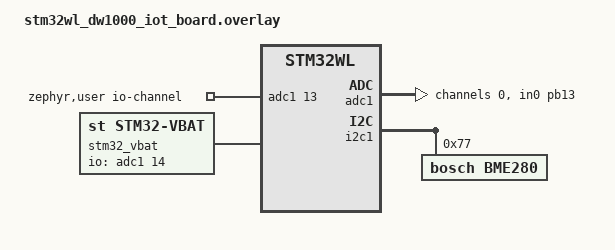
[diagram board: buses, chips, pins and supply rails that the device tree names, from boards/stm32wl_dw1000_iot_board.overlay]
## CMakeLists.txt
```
cmake_minimum_required(VERSION 3.20.0)

find_package(Zephyr REQUIRED HINTS $ENV{ZEPHYR_BASE})
project(stm32wle5_rtos_adc)

FILE(GLOB app_sources src/*.c)
target_sources(app PRIVATE ${app_sources})
```

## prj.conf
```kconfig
# Communication Bus Support
CONFIG_GPIO=y
CONFIG_SPI=y
CONFIG_I2C=y

# Hardware Support
CONFIG_ADC=y
CONFIG_ADC_ASYNC=y
CONFIG_SENSOR=y

# LoraWAN Support
CONFIG_LOG=y
CONFIG_LORA=y
CONFIG_LORAWAN=y
CONFIG_LORAMAC_REGION_EU868=y
CONFIG_LORA_STM32WL_SUBGHZ_RADIO=y

# Stack Support
CONFIG_MAIN_STACK_SIZE=2048
CONFIG_SYSTEM_WORKQUEUE_STACK_SIZE=2048

# Flash Support
CONFIG_NVS=y
CONFIG_FLASH=y
CONFIG_FLASH_PAGE_LAYOUT=y
CONFIG_LOG_MODE_IMMEDIATE=y
CONFIG_NVS_LOG_LEVEL_DBG=y
CONFIG_REBOOT=y
CONFIG_MPU_ALLOW_FLASH_WRITE=y
```

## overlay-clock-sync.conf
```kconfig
CONFIG_LORAWAN_SERVICES=y
CONFIG_LORAWAN_SERVICES_LOG_LEVEL_DBG=y
CONFIG_LORAWAN_APP_CLOCK_SYNC=y
```

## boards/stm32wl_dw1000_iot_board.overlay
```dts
/*
 * Copyright (c) 2023
 * Regis Rousseau, INSA Lyon, CITI Lab.
 *
 * SPDX-License-Identifier: Apache-2.0
 */

/* configuration of ADC for geophone sensor */
/* adjust channel number according to pinmux in board.dts */
/* see datasheet Pinout Config pg 56/149 */
		// PB13 ADC_GSONE -> ADC_IN0

/ {
	zephyr,user {
		io-channels = <&adc1 13 >;
	};

/* VBAT battery voltage monitoring */
/* internal ADC channnel of STM32, Px14 - see datasheet ADC part pg 42/149 */

	stm32_vbat: stm32vbat {
    compatible = "st,stm32-vbat";
    io-channels = <&adc1 14>;
    ratio = <3>;
    status = "okay";
	};
};

&adc1 {
	#address-cells = <1>;
	#size-cells = <0>;

	pinctrl-0 = <&adc_in0_pb13>;
	pinctrl-names = "default";
	status = "okay";

	channel@0 {
		reg = <0>;
		zephyr,gain = "ADC_GAIN_1";
		zephyr,reference = "ADC_REF_INTERNAL";
		zephyr,acquisition-time = <ADC_ACQ_TIME_DEFAULT>;
		zephyr,resolution = <12>;
	};
};

&adc1 {
    vref-mv = <3000>;
    status = "okay";
};

/* config of BME280 sensor (temperature and Humidity) on i2c bus */
/* address 0x77 --> Address Chip Select on high level (VDD) */
&i2c1 {
	status = "okay";
	bme280@77 {
		compatible = "bosch,bme280";
		reg = <0x77>;
	};
};








	
	
	
```

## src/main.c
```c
/*
 * Copyright (c) 2023
 * Regis Rousseau, INSA Lyon, CITI Lab.
 *
 * SPDX-License-Identifier: Apache-2.0
 */

#include <inttypes.h>
#include <stddef.h>
#include <stdint.h>

#include <zephyr/sys/printk.h>
#include <zephyr/sys/util.h>
#include <zephyr/logging/log.h>
#include <zephyr/lorawan/lorawan.h>
#include <zephyr/storage/flash_map.h>
#include <zephyr/fs/nvs.h>

#include <zephyr/kernel.h>
#include <zephyr/device.h>
#include <zephyr/devicetree.h>
#include <zephyr/drivers/adc.h>
#include <zephyr/drivers/sensor.h>
#include <zephyr/drivers/flash.h>

#include "app_sensor.h"
#include "app_lorawan.h"
#include "app_nvs.h"

#if !DT_NODE_EXISTS(DT_PATH(zephyr_user)) || \
	!DT_NODE_HAS_PROP(DT_PATH(zephyr_user), io_channels)
#error "No suitable devicetree overlay specified"
#endif

LOG_MODULE_REGISTER(lorawan_class_a);

static void dl_callback(uint8_t port, bool data_pending,
			int16_t rssi, int8_t snr,
			uint8_t len, const uint8_t *data)
{
	LOG_INF("Port %d, Pending %d, RSSI %ddB, SNR %ddBm", port, data_pending, rssi, snr);
	if (data) {
		LOG_HEXDUMP_INF(data, len, "Payload: ");
	}
}

static void lorwan_datarate_changed(enum lorawan_datarate dr)
{
	uint8_t unused, max_size;

	lorawan_get_payload_sizes(&unused, &max_size);
	LOG_INF("New Datarate: DR_%d, Max Payload %d", dr, max_size);
}

int main(void)
{
    int ret;
	static struct nvs_fs fs;

    uint16_t gsone_val;
	uint16_t gsone_max_val = 1000; //to do 
    uint16_t payload[2];

	struct sensor_value bat_val;
	int rc;
	const struct device *const bat_dev = DEVICE_DT_GET_ONE(st_stm32_vbat);

    const struct device *lora_dev;
	struct lorawan_join_config join_cfg;
	uint8_t dev_eui[] = LORAWAN_DEV_EUI;
	uint8_t join_eui[] = LORAWAN_JOIN_EUI;
	uint8_t app_key[] = LORAWAN_APP_KEY;

	struct lorawan_downlink_cb downlink_cb = {
		.port = LW_RECV_PORT_ANY,
		.cb = dl_callback
	};

	lora_dev = DEVICE_DT_GET(DT_ALIAS(lora0));
	if (!device_is_ready(lora_dev)) {
		LOG_ERR("%s: device not ready.", lora_dev->name);
		return 0;
	}

#if defined(CONFIG_LORAMAC_REGION_EU868)
	/* If more than one region Kconfig is selected, app should set region
	 * before calling lorawan_start()
	 */
	ret = lorawan_set_region(LORAWAN_REGION_EU868);
	if (ret < 0) {
		LOG_ERR("lorawan_set_region failed: %d", ret);
		return 0;
	}
#endif

	ret = lorawan_start();
	if (ret < 0) {
		LOG_ERR("lorawan_start failed: %d", ret);
		return 0;
	}

	lorawan_register_downlink_callback(&downlink_cb);
	lorawan_register_dr_changed_callback(lorwan_datarate_changed);

	join_cfg.mode = LORAWAN_ACT_OTAA;
	join_cfg.dev_eui = dev_eui;
	join_cfg.otaa.join_eui = join_eui;
	join_cfg.otaa.app_key = app_key;
	join_cfg.otaa.nwk_key = app_key;

	LOG_INF("Joining network over OTAA");
	ret = lorawan_join(&join_cfg);
	if (ret < 0) {
		LOG_ERR("lorawan_join_network failed: %d", ret);
		return 0;
	}

#ifdef CONFIG_LORAWAN_APP_CLOCK_SYNC
	lorawan_clock_sync_run();
#endif

	app_sensor_init();
	nvs_initialise(&fs);

	LOG_INF("Sending data...");

	if (!device_is_ready(bat_dev)) {
		printk("VBAT sensor is not ready\n");
		return;
	}

	do {
        gsone_val = app_sensor_read();
        payload[0] = gsone_val >> 8;
        payload[1] = gsone_val;

		/* fetch sensor samples */
		rc = sensor_sample_fetch(bat_dev);
		if (rc) {
			printk("Failed to fetch sample (%d)\n", rc);
			return;
		}

		rc = sensor_channel_get(bat_dev, SENSOR_CHAN_VOLTAGE, &bat_val);
		if (rc) {
			printk("Failed to get data (%d)\n", rc);
			return;
		}

		if (gsone_val > gsone_max_val) {

			ret = lorawan_send(2, (uint8_t *)&payload, sizeof(payload), LORAWAN_MSG_UNCONFIRMED);
			
			if (ret == -EAGAIN) {
				LOG_ERR("lorawan_send failed: %d. Continuing...", ret);
				k_sleep(DELAY);
				continue;
			}

			if (ret < 0) {
				LOG_ERR("lorawan_send failed: %d", ret);
				return 0;
			}
			LOG_INF("Data sent!");
		}
		else {
			/* load data to memory flash*/
			(void)nvs_write_data(&fs, ADDRESS_ID, &gsone_val, sizeof(gsone_val));
			//nvs_write(&fs, ADDRESS_ID, &gsone_val, sizeof(gsone_val));
		}
		k_sleep(DELAY);
	}
	while (3*sensor_value_to_double(&bat_val) > 1.2);

return 0;
}
```

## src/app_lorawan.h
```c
/*
 * Copyright (c) 2023
 * Regis Rousseau, INSA Lyon, CITI Lab.
 *
 * SPDX-License-Identifier: Apache-2.0
 */

#ifndef __LORAWAN__H
#define __LORAWAN__H

/* Customize based on network configuration */
#define LORAWAN_DEV_EUI			{ 0xDD, 0xEE, 0xAA, 0xDD, 0xBB, 0xEE,\
					  0xEE, 0xFF }
#define LORAWAN_JOIN_EUI		{ 0x00, 0x00, 0x00, 0x00, 0x00, 0x00,\
					  0x00, 0x00 }
#define LORAWAN_APP_KEY			{ 0x2B, 0x7E, 0x15, 0x16, 0x28, 0xAE,\
					  0xD2, 0xA6, 0xAB, 0xF7, 0x15, 0x88,\
					  0x09, 0xCF, 0x4F, 0x3C }

#define LOG_LEVEL CONFIG_LOG_DEFAULT_LEVEL
#define DELAY K_MSEC(10)

#endif
```

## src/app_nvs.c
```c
/*
 * Copyright (c) 2023
 * Regis Rousseau, INSA Lyon, CITI Lab.
 *
 * SPDX-License-Identifier: Apache-2.0
 */

#include <stdio.h>
#include <string.h>
#include <stdlib.h>

#include <zephyr/device.h>
#include <zephyr/kernel.h>
#include <zephyr/random/rand32.h>

#include <zephyr/drivers/flash.h>
#include <zephyr/storage/flash_map.h>
#include <zephyr/fs/nvs.h>

#include "app_nvs.h"

int nvs_initialise(struct nvs_fs *fs) {
	struct flash_pages_info info;
	int ret;

	fs->flash_device = NVS_PARTITION_DEVICE;
	if (!device_is_ready(fs->flash_device)) {
		printk("Flash device %s is not ready\n", fs->flash_device->name);
		return;
	}
	fs->offset = NVS_PARTITION_OFFSET;
	ret = flash_get_page_info_by_offs(fs->flash_device, fs->offset, &info);
	if (ret) {
		printk("Unable to get page info\n");
		return;
	}
	fs->sector_size = info.size;
	fs->sector_count = 3U;

	ret = nvs_mount(fs);
	if (ret) {
		printk("Flash Init failed\n");
		return;
	}

#ifdef NVS_CLEAR
	ret = nvs_clear(fs);
	if (ret) {
		printk("Flash Clear failed\n");
		return;
	} else {
		printk("Cleared NVS from flash\n");
	}
#endif
    return 0;
}

size_t nvs_write_data(struct nvs_fs *fs, uint16_t id, void *data, size_t nvs_len) {
    int ret;
    ret = nvs_read(&fs, id, &data, nvs_len);
    if (ret > 0) {
		printk("Id: %d, Address: %s\n", ADDRESS_ID, data);
    }
    else {
        printk("No address found, adding %s at id %d\n", data, ADDRESS_ID);
        nvs_write(&fs, id, &data, nvs_len);
    }
    return 0;
}
```

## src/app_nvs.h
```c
/*
 * Copyright (c) 2023
 * Regis Rousseau, INSA Lyon, CITI Lab.
 *
 * SPDX-License-Identifier: Apache-2.0
 */

#ifndef __NVS__H
#define __NVS__H

#define NVS_PARTITION			storage_partition
#define NVS_PARTITION_DEVICE	FIXED_PARTITION_DEVICE(NVS_PARTITION)
#define NVS_PARTITION_OFFSET	FIXED_PARTITION_OFFSET(NVS_PARTITION)
#define ADDRESS_ID 1

int nvs_initialise(struct nvs_fs *fs);
size_t nvs_write_data(struct nvs_fs *fs, uint16_t id, void *data, size_t nvs_len);

#endif
```

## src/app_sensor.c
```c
/*
 * Copyright (c) 2023
 * Regis Rousseau, INSA Lyon, CITI Lab.
 *
 * SPDX-License-Identifier: Apache-2.0
 */

#include <inttypes.h>
#include <stddef.h>
#include <stdint.h>

#include <zephyr/kernel.h>
#include <zephyr/device.h>
#include <zephyr/devicetree.h>
#include <zephyr/drivers/adc.h>

#include "app_sensor.h"

uint16_t temp_data[8];

/* Data of ADC io-channels specified in devicetree. */
static const struct adc_dt_spec adc_channels[] = {
	DT_FOREACH_PROP_ELEM(DT_PATH(zephyr_user), io_channels,
			     DT_SPEC_AND_COMMA)
};

struct adc_sequence sequence = {
		.buffer = &temp_data,
		/* buffer size in bytes, not number of samples */
		.buffer_size = sizeof(temp_data),
	};

int app_sensor_init(void) {
	int err;

	/* Configure channels individually prior to sampling. */
	for (size_t i = 0U; i < ARRAY_SIZE(adc_channels); i++) {
		if (!device_is_ready(adc_channels[i].dev)) {
			printk("ADC controller device %s not ready\n", adc_channels[i].dev->name);
			return 0;
		}

		err = adc_channel_setup_dt(&adc_channels[i]);
		if (err < 0) {
			printk("Could not setup channel #%d (%d)\n", i, err);
			return 0;
		}
	}
	return 0;
}

uint16_t app_sensor_read(void) {
	int err;
	
	for (size_t i = 0U; i < ARRAY_SIZE(adc_channels); i++) {
			printk("- %s, channel %d: ",
			       adc_channels[i].dev->name,
			       adc_channels[i].channel_id);

			(void)adc_sequence_init_dt(&adc_channels[i], &sequence);

			err = adc_read(adc_channels[i].dev, &sequence);
			if (err < 0) {
				printk("Could not read (%d)\n", err);
				continue;
			}
		return temp_data[0];	
	}
}
```

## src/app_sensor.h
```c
/*
 * Copyright (c) 2023
 * Regis Rousseau, INSA Lyon, CITI Lab.
 *
 * SPDX-License-Identifier: Apache-2.0
 */

#ifndef __GEOPHONE__H
#define __GEOPHONE__H

#define DT_SPEC_AND_COMMA(node_id, prop, idx) \
	ADC_DT_SPEC_GET_BY_IDX(node_id, idx),

int app_sensor_init(void);
uint16_t app_sensor_read(void);

#endif
```
